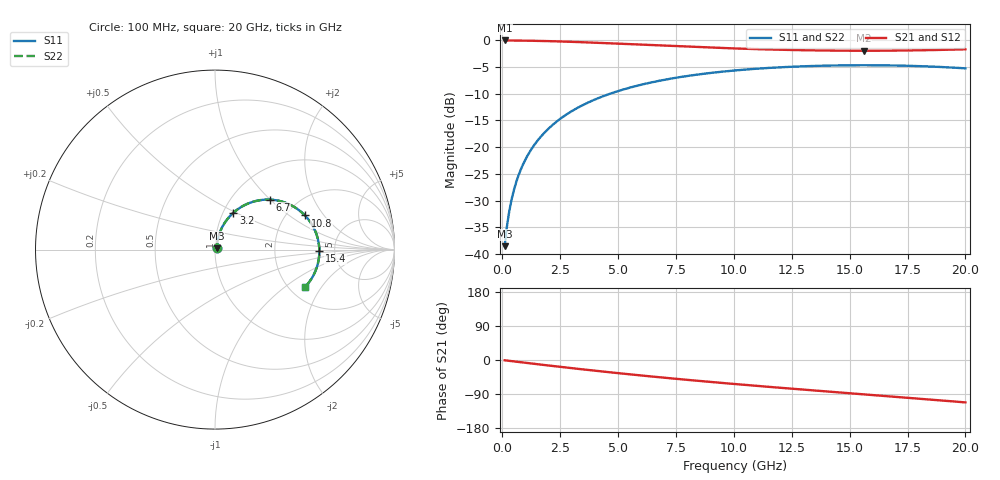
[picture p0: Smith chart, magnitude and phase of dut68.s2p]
! Touchstone file exported from HFSS 2026.1.0
!  File:  C:/ffzhzh/LocalFiles/Ansys_Project_Files/temp_train_TSV_RDL_68_1782969367_15332.aedt
!  Generated:  01:28:13 PM Jul  2, 2026
!  Design:  TSV_RDL
!  Project:  temp_train_TSV_RDL_68_1782969367_15332
! Variables:
!  h_bsmrdl = 5.56um
!  h_ox = 20um
!  h_rdl = 5um
!  h_sub = 77.44um
!  h_tmrdl = 5.29um
!  h_tsv = 77.44um
!  h_via = 3um
!  l_bsmrdl = 226.95um
!  l_sub = 1898.57um
!  l_tmrdl = 172.99um
!  m_sub = 200um
!  pitch = 54.49um
!  r_tsv = 4.38um
!  s_tmrdl = 10um
!  w_bsmrdl = 13.86um
!  w_sub = 500um
!  w_tmrdl = 28.06um
!  x_tsv_center1 = 187.02um
!  x_tsv_center2 = 427.83um
!  x_tsv_center3 = 628.88um
!  x_tsv_center4 = 869.69um
!  x_tsv_center5 = 1070.74um
!  x_tsv_center6 = 1311.55um
# GHz S MA R 50.000000
! Terminal data exported
! Port[1] = TM_RDL1_1_T1
! Port[2] = TM_RDL5_1_T1
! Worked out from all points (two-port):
!   200 points, 100 MHz to 20 GHz, reference 50 ohm
!   highest |S21| = -0.08 dB at 100 MHz (marker M1); lowest = -2.0 dB at 15.6 GHz (marker M2)
!   |S21| within 3 dB of the highest: start of sweep to end of sweep
!   lowest |S11| = -38.5 dB at 100 MHz (marker M3), VSWR 1.02, Z = 50.9 + j0.797 ohm
!   |S11| at or under -10 dB: start of sweep to 4.675 GHz
!   |S22| runs from -38.5 to -4.7 dB; largest |S21 - S12| = 1.6e-13
!   S11 on the Smith chart (normalised r, x): 100 MHz: 1.02, +0.02; 3.2 GHz: 1.12, +0.48; 6.7 GHz: 1.48, +0.99; 10.8 GHz: 2.50, +1.34; 15.4 GHz: 3.78, -0.10; 20 GHz: 2.42, -1.43
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0.1  0.01185 41.3  0.9912 -0.8  0.9912 -0.8  0.01185 41.3
! Gamma 0 0 0 0
! Port Impedance 50 0 50 0
0.2  0.01811 58.5  0.9908 -1.5  0.9908 -1.5  0.01811 58.5
0.3  0.02507 66.1  0.9905 -2.2  0.9905 -2.2  0.02507 66.1
0.4  0.03226 70.0  0.9901 -3.0  0.9901 -3.0  0.03226 70.0
0.5  0.03956 72.3  0.9897 -3.7  0.9897 -3.7  0.03956 72.3
0.7  0.05432 74.5  0.9888 -5.2  0.9888 -5.2  0.05432 74.5
1  0.07655 75.0  0.987 -7.3  0.987 -7.3  0.07655 75.0
1.4  0.1059 73.9  0.9837 -10.2  0.9837 -10.2  0.1059 73.9
1.9  0.1419 71.4  0.9782 -13.8  0.9782 -13.8  0.1419 71.4
2.5  0.1834 67.9  0.9702 -18.1  0.9702 -18.1  0.1834 67.9
3.2  0.2294 63.5  0.959 -22.9  0.959 -22.9  0.2294 63.5
3.5  0.2482 61.6  0.9538 -24.9  0.9538 -24.9  0.2482 61.6
4.9  0.3283 52.9  0.9273 -34.0  0.9273 -34.0  0.3283 52.9
6.7  0.4129 42.4  0.8917 -45.0  0.8917 -45.0  0.4129 42.4
6.8  0.4171 41.8  0.8897 -45.6  0.8897 -45.6  0.4171 41.8
10.1  0.5211 24.3  0.8337 -63.7  0.8337 -63.7  0.5211 24.3
10.8  0.536 20.8  0.8245 -67.3  0.8245 -67.3  0.536 20.8
13.4  0.5722 8.4  0.8008 -80.1  0.8008 -80.1  0.5722 8.4
15.4  0.5816 -0.8  0.7945 -89.6  0.7945 -89.6  0.5816 -0.8
15.6  0.5816 -1.8  0.7945 -90.6  0.7945 -90.6  0.5816 -1.8
16.7  0.5794 -6.8  0.7961 -95.8  0.7961 -95.8  0.5794 -6.8
20  0.5437 -22.4  0.8194 -111.9  0.8194 -111.9  0.5437 -22.4
